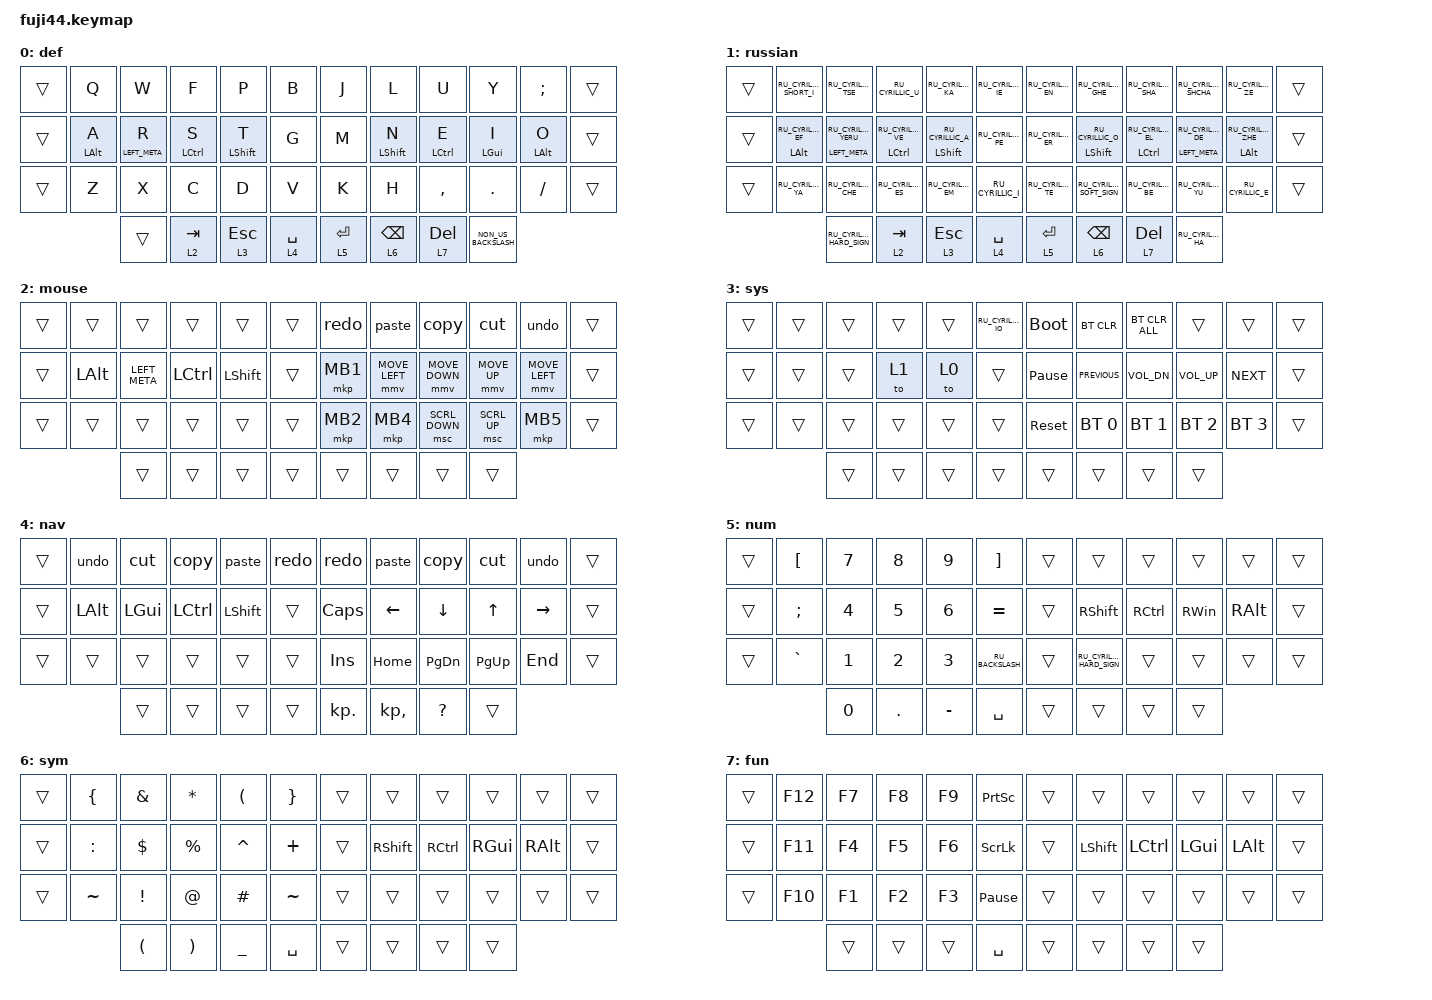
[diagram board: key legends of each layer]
/*
 * Copyright (c) 2020 The ZMK Contributors
 *
 * SPDX-License-Identifier: MIT
 */

#include <behaviors.dtsi>
#include <dt-bindings/zmk/bt.h>
#include <dt-bindings/zmk/keys.h>
#include <dt-bindings/zmk/pointing.h>
#include "keys_ru.h"

/ {
    combos {
        compatible = "zmk,combos";

        combo_do_quo {
            timeout-ms = <50>;
            key-positions = <14 15>;
            bindings = <&kp DQT>;
        };

        combo_si_quo {
            bindings = <&kp SINGLE_QUOTE>;
            key-positions = <20 21>;
        };

        l_kr_sc {
            bindings = <&kp LPAR>;
            key-positions = <3 4>;
        };

        r_kr_sc {
            bindings = <&kp RPAR>;
            key-positions = <7 8>;
        };

        r_kv_sc {
            bindings = <&kp LEFT_BRACKET>;
            key-positions = <15 16>;
        };

        l_kv_sc {
            bindings = <&kp RIGHT_BRACKET>;
            key-positions = <19 20>;
        };

        r_fg_sc {
            bindings = <&kp LEFT_BRACE>;
            key-positions = <27 28>;
        };

        l_fg_sc {
            bindings = <&kp RIGHT_BRACE>;
            key-positions = <31 32>;
        };
    };

    behaviors {
        ss_hs_modmorph: ss_hs_modmorph {
            compatible = "zmk,behavior-mod-morph";
            label = "SS_HS_MODMORPH";
            bindings = <&kp M>, <&kp RIGHT_BRACKET>;

            #binding-cells = <0>;
            mods = <(MOD_LSFT|MOD_RSFT)>;
        };

        kh_hs_tapdance: kh_hs_tapdance {
            compatible = "zmk,behavior-tap-dance";
            label = "KH_HS_TAPDANCE";
            #binding-cells = <0>;
            tapping-term-ms = <200>;
            bindings = <&kp LEFT_BRACKET>, <&kp RIGHT_BRACKET>;
        };

        hrm: hrm {
            compatible = "zmk,behavior-hold-tap";
            #binding-cells = <2>;
            flavor = "tap-preferred";
            tapping-term-ms = <200>;
            quick-tap-ms = <200>;
            require-prior-idle-ms = <125>;
            bindings = <&kp>, <&kp>;
        };
    };

    macros {
        redo: redo {
            compatible = "zmk,behavior-macro";
            #binding-cells = <0>;
            bindings = <&kp LC(Y)>;
            label = "REDO";
        };

        undo: undo {
            compatible = "zmk,behavior-macro";
            #binding-cells = <0>;
            bindings = <&kp LC(Z)>;
            label = "UNDO";
        };

        cut: cut {
            compatible = "zmk,behavior-macro";
            #binding-cells = <0>;
            bindings = <&kp LC(X)>;
            label = "CUT";
        };

        copy: copy {
            compatible = "zmk,behavior-macro";
            #binding-cells = <0>;
            bindings = <&kp LC(C)>;
            label = "COPY";
        };

        paste: paste {
            compatible = "zmk,behavior-macro";
            #binding-cells = <0>;
            bindings = <&kp LC(V)>;
            label = "PASTE";
        };

        last_workspace: last_workspace {
            compatible = "zmk,behavior-macro";
            #binding-cells = <0>;
            bindings = <&kp LG(LA(D))>;
            label = "LAST_WORKSPACE";
        };

        command_center: command_center {
            compatible = "zmk,behavior-macro";
            #binding-cells = <0>;
            bindings = <&kp LG(D)>;
            label = "COMMAND_CENTER";
        };
    };

    keymap {
        compatible = "zmk,keymap";

        def {
            bindings = <
&trans  &kp Q           &kp W            &kp F               &kp P             &kp B          &kp J        &kp L             &kp U               &kp Y                 &kp SEMICOLON   &trans
&trans  &mt LEFT_ALT A  &mt LEFT_META R  &mt LEFT_CONTROL S  &mt LEFT_SHIFT T  &kp G          &kp M        &mt LEFT_SHIFT N  &mt LEFT_CONTROL E  &mt LEFT_GUI I        &mt LEFT_ALT O  &trans
&trans  &kp Z           &kp X            &kp C               &kp D             &kp V          &kp K        &kp H             &kp COMMA           &kp DOT               &kp FSLH        &trans
                        &trans           &lt 2 TAB           &lt 3 ESCAPE      &lt 4 SPACE    &lt 5 ENTER  &lt 6 BACKSPACE   &lt 7 DELETE        &kp NON_US_BACKSLASH
            >;
        };

        russian {
            bindings = <
&trans  &kp RU_CYRILLIC_SHORT_I      &kp RU_CYRILLIC_TSE             &kp RU_CYRILLIC_U                &kp RU_CYRILLIC_KA            &kp RU_CYRILLIC_IE    &kp RU_CYRILLIC_EN  &kp RU_CYRILLIC_GHE           &kp RU_CYRILLIC_SHA              &kp RU_CYRILLIC_SHCHA         &kp RU_CYRILLIC_ZE            &trans
&trans  &mt LEFT_ALT RU_CYRILLIC_EF  &mt LEFT_META RU_CYRILLIC_YERU  &mt LEFT_CONTROL RU_CYRILLIC_VE  &mt LEFT_SHIFT RU_CYRILLIC_A  &kp RU_CYRILLIC_PE    &kp RU_CYRILLIC_ER  &mt LEFT_SHIFT RU_CYRILLIC_O  &mt LEFT_CONTROL RU_CYRILLIC_EL  &mt LEFT_META RU_CYRILLIC_DE  &mt LEFT_ALT RU_CYRILLIC_ZHE  &trans
&trans  &kp RU_CYRILLIC_YA           &kp RU_CYRILLIC_CHE             &kp RU_CYRILLIC_ES               &kp RU_CYRILLIC_EM            &kp RU_CYRILLIC_I     &kp RU_CYRILLIC_TE  &kp RU_CYRILLIC_SOFT_SIGN     &kp RU_CYRILLIC_BE               &kp RU_CYRILLIC_YU            &kp RU_CYRILLIC_E             &trans
                                     &kp RU_CYRILLIC_HARD_SIGN       &lt 2 TAB                        &lt 3 ESC                     &lt 4 SPACE           &lt 5 ENTER         &lt 6 BACKSPACE               &lt 7 DELETE                     &kp RU_CYRILLIC_HA
            >;
        };

        mouse {
            bindings = <
&trans  &trans        &trans         &trans            &trans          &trans    &redo     &paste          &copy           &cut          &undo           &trans
&trans  &kp LEFT_ALT  &kp LEFT_META  &kp LEFT_CONTROL  &kp LEFT_SHIFT  &trans    &mkp MB1  &mmv MOVE_LEFT  &mmv MOVE_DOWN  &mmv MOVE_UP  &mmv MOVE_LEFT  &trans
&trans  &trans        &trans         &trans            &trans          &trans    &mkp MB2  &mkp MB4        &msc SCRL_DOWN  &msc SCRL_UP  &mkp MB5        &trans
                      &trans         &trans            &trans          &trans    &trans    &trans          &trans          &trans
            >;
        };

        sys {
            bindings = <
&trans  &trans  &trans  &trans  &trans  &kp RU_CYRILLIC_IO    &bootloader      &bt BT_CLR      &bt BT_CLR_ALL  &trans        &trans        &trans
&trans  &trans  &trans  &to 1   &to 0   &trans                &kp PAUSE_BREAK  &kp C_PREVIOUS  &kp C_VOL_DN    &kp C_VOL_UP  &kp C_NEXT    &trans
&trans  &trans  &trans  &trans  &trans  &trans                &sys_reset       &bt BT_SEL 0    &bt BT_SEL 1    &bt BT_SEL 2  &bt BT_SEL 3  &trans
                &trans  &trans  &trans  &trans                &trans           &trans          &trans          &trans
            >;
        };

        nav {
            bindings = <
&trans  &undo         &cut          &copy      &paste          &redo     &redo       &paste        &copy          &cut          &undo      &trans
&trans  &kp LEFT_ALT  &kp LEFT_GUI  &kp LCTRL  &kp LEFT_SHIFT  &trans    &kp CAPS    &kp LEFT      &kp DOWN       &kp UP_ARROW  &kp RIGHT  &trans
&trans  &trans        &trans        &trans     &trans          &trans    &kp INSERT  &kp HOME      &kp PAGE_DOWN  &kp PG_UP     &kp END    &trans
                      &trans        &trans     &trans          &trans    &kp KP_DOT  &kp KP_COMMA  &kp QUESTION   &trans
            >;
        };

        num {
            bindings = <
&trans  &kp LEFT_BRACKET  &kp N7        &kp N8        &kp N9        &kp RIGHT_BRACKET    &trans  &trans                     &trans     &trans         &trans         &trans
&trans  &kp SEMI          &kp NUMBER_4  &kp N5        &kp NUMBER_6  &kp EQUAL            &trans  &kp RIGHT_SHIFT            &kp RCTRL  &kp RIGHT_WIN  &kp RIGHT_ALT  &trans
&trans  &kp GRAVE         &kp NUMBER_1  &kp NUMBER_2  &kp NUMBER_3  &kp RU_BACKSLASH     &trans  &kp RU_CYRILLIC_HARD_SIGN  &trans     &trans         &trans         &trans
                          &kp NUMBER_0  &kp DOT       &kp MINUS     &kp SPACE            &trans  &trans                     &trans     &trans
            >;
        };

        sym {
            bindings = <
&trans  &kp LEFT_BRACE  &kp AMPERSAND  &kp ASTERISK  &kp LEFT_PARENTHESIS  &kp RIGHT_BRACE    &trans  &trans      &trans     &trans         &trans         &trans
&trans  &kp COLON       &kp DOLLAR     &kp PERCENT   &kp CARET             &kp PLUS           &trans  &kp RSHIFT  &kp RCTRL  &kp RIGHT_GUI  &kp RIGHT_ALT  &trans
&trans  &kp TILDE       &kp EXCL       &kp AT_SIGN   &kp HASH              &kp TILDE          &trans  &trans      &trans     &trans         &trans         &trans
                        &kp LPAR       &kp RPAR      &kp UNDER             &kp SPACE          &trans  &trans      &trans     &trans
            >;
        };

        fun {
            bindings = <
&trans  &kp F12  &kp F7  &kp F8  &kp F9  &kp PRINTSCREEN    &trans  &trans          &trans            &trans        &trans        &trans
&trans  &kp F11  &kp F4  &kp F5  &kp F6  &kp SCROLLLOCK     &trans  &kp LEFT_SHIFT  &kp LEFT_CONTROL  &kp LEFT_GUI  &kp LEFT_ALT  &trans
&trans  &kp F10  &kp F1  &kp F2  &kp F3  &kp PAUSE_BREAK    &trans  &trans          &trans            &trans        &trans        &trans
                 &trans  &trans  &trans  &kp SPACE          &trans  &trans          &trans            &trans
            >;
        };
    };
};
